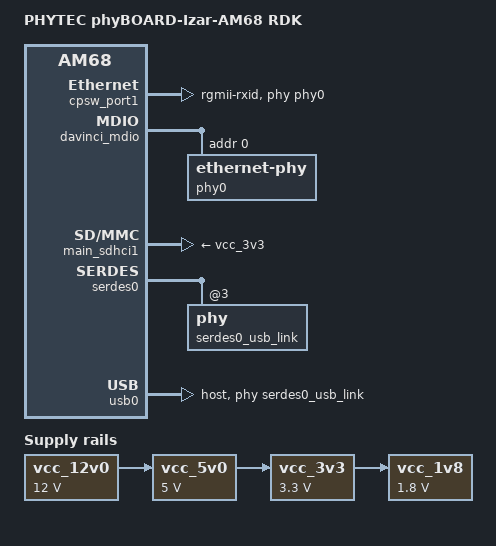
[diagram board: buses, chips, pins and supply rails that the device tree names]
// SPDX-License-Identifier: GPL-2.0
/*
 * Copyright (C) 2023 PHYTEC Messtechnik GmbH
 * Author: Dominik Haller <d.haller@phytec.de>
 */

/dts-v1/;

#include <dt-bindings/net/ti-dp83867.h>
#include <dt-bindings/mux/ti-serdes.h>
#include <dt-bindings/phy/phy.h>
#include "k3-am68-phycore-som.dtsi"

/ {
	compatible = "phytec,am68-phyboard-izar-rdk",
		"phytec,am68-phycore-som", "ti,j721s2";
	model = "PHYTEC phyBOARD-Izar-AM68 RDK";

	aliases {
		ethernet0 = &cpsw_port1;
		mmc1 = &main_sdhci1;
		serial0 = &wkup_uart0;
		serial2 = &main_uart8;
	};

	chosen {
		stdout-path = "serial2:115200n8";
		bootargs = "console=ttyS2,115200n8 earlycon=ns16550a,mmio32,0x2880000";
	};

	vcc_12v0: regulator-12v0 {
		/* main supply */
		compatible = "regulator-fixed";
		regulator-name = "VCC_IN";
		regulator-min-microvolt = <12000000>;
		regulator-max-microvolt = <12000000>;
		regulator-always-on;
		regulator-boot-on;
	};

	vcc_1v8: regulator-vcc-1v8 {
		/* Output of TLV7158P */
		compatible = "regulator-fixed";
		regulator-name = "VCC_1V8";
		regulator-min-microvolt = <1800000>;
		regulator-max-microvolt = <1800000>;
		regulator-always-on;
		regulator-boot-on;
		vin-supply = <&vcc_3v3>;
	};

	vcc_3v3: regulator-vcc-3v3 {
		/* Output of SiC431 */
		compatible = "regulator-fixed";
		regulator-name = "VCC_3V3";
		regulator-min-microvolt = <3300000>;
		regulator-max-microvolt = <3300000>;
		regulator-always-on;
		regulator-boot-on;
		vin-supply = <&vcc_5v0>;
	};

	vcc_5v0: regulator-vcc-5v0 {
		/* Output of LM5116 */
		compatible = "regulator-fixed";
		regulator-name = "VCC_5V0";
		regulator-min-microvolt = <5000000>;
		regulator-max-microvolt = <5000000>;
		regulator-always-on;
		regulator-boot-on;
		vin-supply = <&vcc_12v0>;
	};
};

&main_pmx0 {
	main_i2c2_pins_default: main-i2c2-pins-default {
		pinctrl-single,pins = <
			J721S2_IOPAD(0x04c, PIN_INPUT_PULLUP, 13) /* (V27) MCASP1_AXR1.I2C2_SCL */
			J721S2_IOPAD(0x050, PIN_INPUT_PULLUP, 13) /* (W27) MCASP1_AXR2.I2C2_SDA */
		>;
	};

	main_mmc1_pins_default: main-mmc1-pins-default {
		pinctrl-single,pins = <
			J721S2_IOPAD(0x104, PIN_INPUT, 0) /* (P23) MMC1_CLK */
			J721S2_IOPAD(0x108, PIN_INPUT, 0) /* (N24) MMC1_CMD */
			J721S2_IOPAD(0x100, PIN_INPUT, 0) /* (###) MMC1_CLKLB */
			J721S2_IOPAD(0x0fc, PIN_INPUT, 0) /* (M23) MMC1_DAT0 */
			J721S2_IOPAD(0x0f8, PIN_INPUT, 0) /* (P24) MMC1_DAT1 */
			J721S2_IOPAD(0x0f4, PIN_INPUT, 0) /* (R24) MMC1_DAT2 */
			J721S2_IOPAD(0x0f0, PIN_INPUT, 0) /* (R22) MMC1_DAT3 */
			J721S2_IOPAD(0x0e8, PIN_INPUT, 8) /* (AE25) TIMER_IO0.MMC1_SDCD */
		>;
	};

	main_uart8_pins_default: main-uart8-pins-default {
		pinctrl-single,pins = <
			J721S2_IOPAD(0x0d0, PIN_INPUT, 11) /* (AF26) SPI0_CS1.UART8_RXD */
			J721S2_IOPAD(0x0d4, PIN_OUTPUT, 11) /* (AH27) SPI0_CLK.UART8_TXD */
		>;
	};
};

&wkup_pmx0 {
	mcu_cpsw_pins_default: mcu-cpsw-pins-default {
		pinctrl-single,pins = <
			J721S2_WKUP_IOPAD(0x094, PIN_INPUT, 0) /* (B22) MCU_RGMII1_RD0 */
			J721S2_WKUP_IOPAD(0x090, PIN_INPUT, 0) /* (B21) MCU_RGMII1_RD1 */
			J721S2_WKUP_IOPAD(0x08c, PIN_INPUT, 0) /* (C22) MCU_RGMII1_RD2 */
			J721S2_WKUP_IOPAD(0x088, PIN_INPUT, 0) /* (D23) MCU_RGMII1_RD3 */
			J721S2_WKUP_IOPAD(0x084, PIN_INPUT, 0) /* (D22) MCU_RGMII1_RXC */
			J721S2_WKUP_IOPAD(0x06c, PIN_INPUT, 0) /* (E23) MCU_RGMII1_RX_CTL */
			J721S2_WKUP_IOPAD(0x07c, PIN_OUTPUT, 0) /* (F23) MCU_RGMII1_TD0 */
			J721S2_WKUP_IOPAD(0x078, PIN_OUTPUT, 0) /* (G22) MCU_RGMII1_TD1 */
			J721S2_WKUP_IOPAD(0x074, PIN_OUTPUT, 0) /* (E21) MCU_RGMII1_TD2 */
			J721S2_WKUP_IOPAD(0x070, PIN_OUTPUT, 0) /* (E22) MCU_RGMII1_TD3 */
			J721S2_WKUP_IOPAD(0x080, PIN_OUTPUT, 0) /* (F21) MCU_RGMII1_TXC */
			J721S2_WKUP_IOPAD(0x068, PIN_OUTPUT, 0) /* (F22) MCU_RGMII1_TX_CTL */
		>;
	};

	mcu_mdio_pins_default: mcu-mdio-pins-default {
		pinctrl-single,pins = <
			J721S2_WKUP_IOPAD(0x09c, PIN_OUTPUT, 0) /* (A21) MCU_MDIO0_MDC */
			J721S2_WKUP_IOPAD(0x098, PIN_INPUT, 0) /* (A22) MCU_MDIO0_MDIO */
		>;
	};

	wkup_uart0_pins_default: wkup-uart0-pins-default {
		pinctrl-single,pins = <
			J721S2_WKUP_IOPAD(0x0d8, PIN_INPUT, 0) /* (E25) WKUP_GPIO0_6.WKUP_UART0_CTSn */
			J721S2_WKUP_IOPAD(0x0dc, PIN_OUTPUT, 0) /* (F28) WKUP_GPIO0_7.WKUP_UART0_RTSn */
			J721S2_WKUP_IOPAD(0x0b0, PIN_INPUT, 0) /* (D28) WKUP_UART0_RXD */
			J721S2_WKUP_IOPAD(0x0b4, PIN_OUTPUT, 0) /* (D27) WKUP_UART0_TXD */
		>;
	};
};

&cpsw_port1 {
	phy-mode = "rgmii-rxid";
	phy-handle = <&phy0>;
};

&davinci_mdio {
	pinctrl-names = "default";
	pinctrl-0 = <&mcu_mdio_pins_default>;

	phy0: ethernet-phy@0 {
		reg = <0>;
		ti,clk-output-sel = <DP83867_CLK_O_SEL_OFF>;
		ti,fifo-depth = <DP83867_PHYCR_FIFO_DEPTH_4_B_NIB>;
		ti,min-output-impedance;
		ti,rx-internal-delay = <DP83867_RGMIIDCTL_2_00_NS>;
		/* GBit not working with alpha HW */
		max-speed = <100>;
	};
};

&i2c_som_rtc {
	enable-level-switching-mode;
	trickle-resistor-ohms = <3000>;
};

&main_gpio2 {
	status = "disabled";
};

&main_gpio4 {
	status = "disabled";
};

&main_gpio6 {
	status = "disabled";
};

&wkup_gpio1 {
	status = "disabled";
};

&main_i2c1 {
	status = "disabled";
};

/* Connected to USB-Hub */
&main_i2c2 {
	pinctrl-names = "default";
	pinctrl-0 = <&main_i2c2_pins_default>;
};

&main_i2c3 {
	status = "disabled";
};

&main_i2c4 {
	status = "disabled";
};

&main_i2c5 {
	status = "disabled";
};

&main_i2c6 {
	status = "disabled";
};

&main_mcan0 {
	status = "disabled";
};

&main_mcan1 {
	status = "disabled";
};

&main_mcan2 {
	status = "disabled";
};

&main_mcan3 {
	status = "disabled";
};

&main_mcan4 {
	status = "disabled";
};

&main_mcan5 {
	status = "disabled";
};

&main_mcan6 {
	status = "disabled";
};

&main_mcan7 {
	status = "disabled";
};

&main_mcan8 {
	status = "disabled";
};

&main_mcan9 {
	status = "disabled";
};

&main_mcan10 {
	status = "disabled";
};

&main_mcan11 {
	status = "disabled";
};

&main_mcan12 {
	status = "disabled";
};

&main_mcan13 {
	status = "disabled";
};

&main_mcan14 {
	status = "disabled";
};

&main_mcan15 {
	status = "disabled";
};

&main_mcan16 {
	status = "disabled";
};

&main_mcan17 {
	status = "disabled";
};

/* SD-Card */
&main_sdhci1 {
	pinctrl-0 = <&main_mmc1_pins_default>;
	pinctrl-names = "default";
	disable-wp;
	vmmc-supply = <&vcc_3v3>;
	/* 1.8v broken on alpha HW */
	no-1-8-v;
};

&main_uart0 {
	status = "disabled";
};

&main_uart1 {
	status = "disabled";
};

&main_uart2 {
	status = "disabled";
};

&main_uart3 {
	status = "disabled";
};

&main_uart4 {
	status = "disabled";
};

&main_uart5 {
	status = "disabled";
};

&main_uart6 {
	status = "disabled";
};

&main_uart7 {
	status = "disabled";
};

&main_uart8 {
	pinctrl-names = "default";
	pinctrl-0 = <&main_uart8_pins_default>;
	/* Shared with TFA on this platform */
	power-domains = <&k3_pds 357 TI_SCI_PD_SHARED>;
};

&main_uart9 {
	status = "disabled";
};

&mcu_cpsw {
	pinctrl-names = "default";
	pinctrl-0 = <&mcu_cpsw_pins_default>;
};

&mcu_i2c1 {
	status = "disabled";
};

&mcu_mcan0 {
	status = "disabled";
};

&mcu_mcan1 {
	status = "disabled";
};

&mcu_uart0 {
	status = "disabled";
};

&ospi1 {
	status = "disabled";
};

&pcie1_rc {
	status = "disabled";
};

&pcie1_ep {
	status = "disabled";
};

&serdes_ln_ctrl {
	idle-states = <J721S2_SERDES0_LANE0_PCIE1_LANE0>, <J721S2_SERDES0_LANE1_IP4_UNUSED>,
		      <J721S2_SERDES0_LANE2_IP3_UNUSED>, <J721S2_SERDES0_LANE3_USB>;
};

&serdes_refclk {
	clock-frequency = <100000000>;
};

&serdes0 {
	serdes0_usb_link: phy@3 {
		reg = <3>;
		cdns,num-lanes = <1>;
		#phy-cells = <0>;
		cdns,phy-type = <PHY_TYPE_USB3>;
		resets = <&serdes_wiz0 4>;
	};
};

&usbss0 {
	ti,vbus-divider;
};

&usb0 {
	dr_mode = "host";
	phys = <&serdes0_usb_link>;
	phy-names = "cdns3,usb3-phy";
};

&usb_serdes_mux {
	idle-states = <0>; /* USB0 to SERDES lane 3 */
};

/* Shared with firmware debug messages */
&wkup_uart0 {
	pinctrl-names = "default";
	pinctrl-0 = <&wkup_uart0_pins_default>;
	uart-has-rtscts;
	status = "reserved";
};
